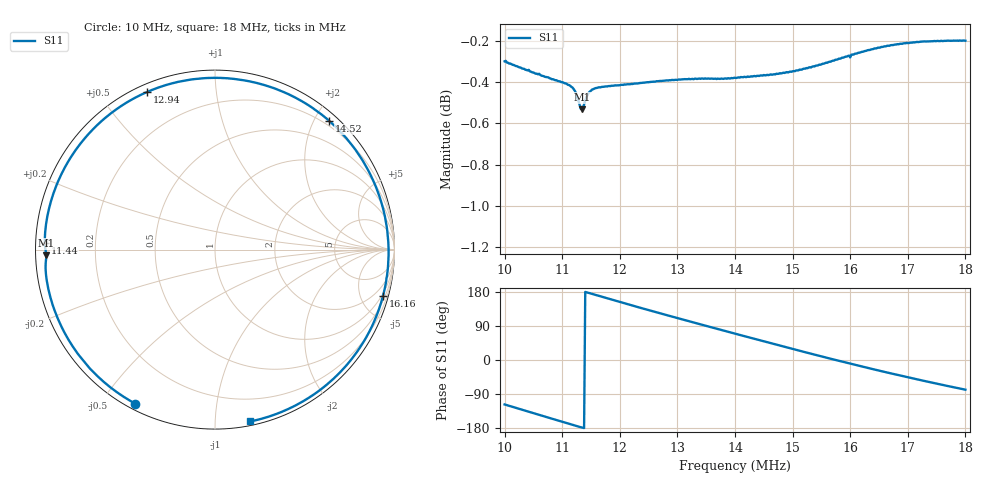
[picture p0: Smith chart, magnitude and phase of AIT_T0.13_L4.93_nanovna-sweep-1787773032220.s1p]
! S11 from AIT_T0.13_L4.93_nanovna-sweep-1787773032220.txt, converted by the rf-network-modeller history importer
# HZ S RI R 50
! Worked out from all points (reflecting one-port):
!   401 points, 10 MHz to 18 MHz, reference 50 ohm
!   lowest |S11| = -0.5 dB at 11.34 MHz (marker M1), VSWR 32.67, Z = 1.53 - j0.856 ohm
!   phase of S11 starts at -117 deg and turns -321 deg over the sweep
!   S11 on the Smith chart (normalised r, x): 10 MHz: 0.02, -0.61; 11.44 MHz: 0.03, +0.02; 12.94 MHz: 0.03, +0.66; 14.52 MHz: 0.12, +2.22; 16.16 MHz: 0.80, -7.24; 18 MHz: 0.03, -1.23
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1e7  -0.4434 -0.8586
1.024e7  -0.5971 -0.7559
1.054e7  -0.7563 -0.5906
1.078e7  -0.8526 -0.4351
1.1e7  -0.9133 -0.2795
1.134e7  -0.9401 -0.0322
1.144e7  -0.9476 0.035
1.17e7  -0.9251 0.2272
1.2e7  -0.8501 0.4317
1.25e7  -0.6349 0.7134
1.294e7  -0.3764 0.879
1.3e7  -0.3377 0.8947
1.324e7  -0.178 0.9401
1.35e7  0.000269 0.9569
1.374e7  0.1637 0.9427
1.4e7  0.3346 0.8971
1.426e7  0.4937 0.821
1.452e7  0.636 0.7174
1.5e7  0.8387 0.469
1.526e7  0.9106 0.312
1.55e7  0.9513 0.1599
1.576e7  0.9671 -0.00816
1.6e7  0.9552 -0.159
1.616e7  0.9354 -0.2601
1.656e7  0.8426 -0.4887
1.7e7  0.6834 -0.6971
1.75e7  0.4533 -0.8658
1.8e7  0.1976 -0.9573
